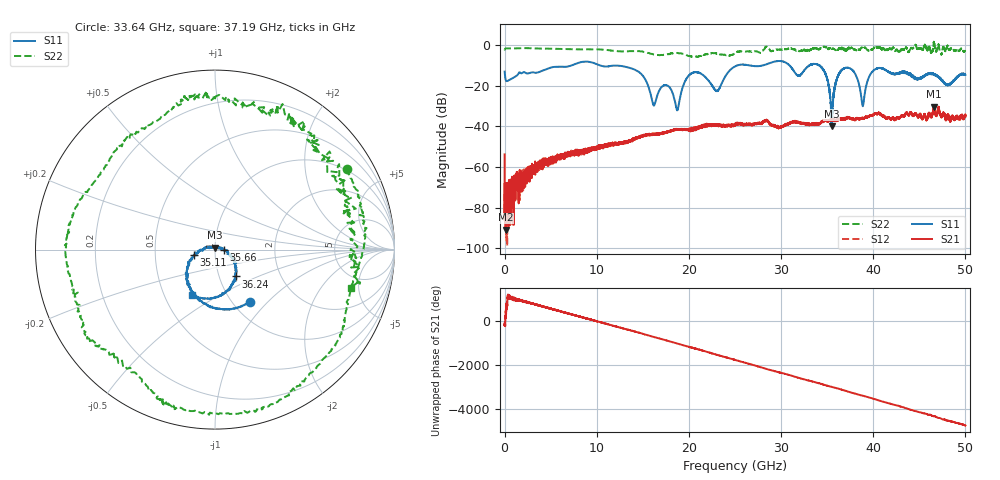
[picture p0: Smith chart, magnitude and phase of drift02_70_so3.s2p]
!Created with skrf (http://scikit-rf.org).
# Hz S RI R 50.0
!freq ReS11 ImS11 ReS21 ImS21 ReS12 ImS12 ReS22 ImS22
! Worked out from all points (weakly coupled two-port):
!   10001 points, 300 kHz to 50 GHz, reference 50 ohm
!   highest |S21| = -30.15 dB at 46.6 GHz (marker M1); lowest = -91.0 dB at 110.3 MHz (marker M2)
!   lowest |S11| = -39.9 dB at 35.48 GHz (marker M3), VSWR 1.02, Z = 49.9 + j0.998 ohm
!   |S11| at or under -10 dB: start of sweep to 7.177 GHz; 12.37 GHz to 25.17 GHz (12.8 GHz wide, 68.2 % of centre); 34.2 GHz to end of sweep (the widest 3 of 16)
!   |S22| runs from -5.7 to 2.5 dB; largest |S21 - S12| = 0.0031
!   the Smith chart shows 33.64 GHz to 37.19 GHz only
!   S11 on the Smith chart (normalised r, x): 33.64 GHz: 1.20, -0.79; 35.11 GHz: 0.79, -0.05; 35.66 GHz: 1.11, +0.00; 36.24 GHz: 1.20, -0.37; 37.19 GHz: 0.69, -0.38
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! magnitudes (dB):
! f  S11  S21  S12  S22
! 300 kHz  -12.9  -53.8  -86.8  -2.0
! 110.3 MHz  -16.9  -91.0  -78.7  -1.5
! 2.675 GHz  -13.7  -62.7  -61.2  -1.4
! 8.335 GHz  -8.2  -52.9  -51.6  -1.9
! 14.03 GHz  -11.8  -45.9  -46.2  -2.8
! 16.67 GHz  -23.4  -43.7  -43.7  -4.7
! 18.74 GHz  -31.9  -41.5  -41.4  -3.7
! 20.23 GHz  -13.9  -41.6  -41.4  -5.5
! 23.05 GHz  -22.5  -39.5  -39.1  -4.1
! 25 GHz  -10.4  -39.0  -39.4  -3.9
! 33.34 GHz  -9.3  -38.6  -38.8  -1.6
! 33.64 GHz  -9.1  -38.9  -38.9  -1.3
! 35.11 GHz  -18.2  -37.3  -37.0  -1.7
! 35.48 GHz  -39.9  -36.4  -36.9  -1.7
! 35.66 GHz  -25.8  -36.9  -36.9  -1.7
! 36.24 GHz  -14.5  -36.3  -36.3  -1.8
! 37.19 GHz  -11.0  -35.3  -35.6  -2.1
! 38.86 GHz  -29.8  -36.0  -36.1  -1.4
! 39.93 GHz  -12.8  -34.4  -34.5  -2.0
! 41.67 GHz  -13.0  -35.5  -35.5  -1.9
! 46.6 GHz  -14.3  -30.2  -30.3  2.1
! 50 GHz  -14.5  -34.6  -34.9  -2.8
